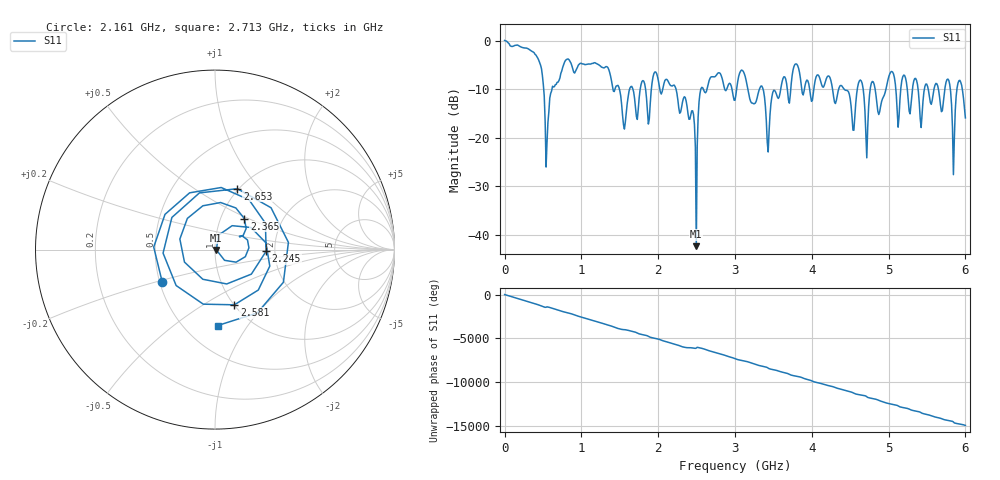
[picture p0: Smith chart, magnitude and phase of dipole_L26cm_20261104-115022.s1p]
! Dipole length 26 cm, measured 20261104-115022
# GHZ S RI R 50.000000000000
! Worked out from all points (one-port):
!   501 points, 1 MHz to 6 GHz, reference 50 ohm
!   lowest |S11| = -42.3 dB at 2.497 GHz (marker M1), VSWR 1.02, Z = 50.8 - j0.143 ohm
!   |S11| at or under -10 dB: 2.233 GHz to 2.556 GHz (322.7 MHz wide, 13.5 % of centre); 3.365 GHz to 3.596 GHz (230.4 MHz wide, 6.62 % of centre); 4.421 GHz to 4.593 GHz (171.8 MHz wide, 3.81 % of centre)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
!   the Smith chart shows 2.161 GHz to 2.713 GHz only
!   S11 on the Smith chart (normalised r, x): 2.161 GHz: 0.52, -0.21; 2.245 GHz: 1.80, -0.04; 2.365 GHz: 1.29, +0.47; 2.581 GHz: 1.00, -0.69; 2.653 GHz: 0.99, +0.77; 2.713 GHz: 0.71, -0.74
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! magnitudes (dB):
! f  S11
! 1 MHz  0.0
! 444.9 MHz  -4.0
! 552.9 MHz  -21.0
! 756.9 MHz  -5.5
! 1.501 GHz  -10.3
! 1.561 GHz  -18.2
! 1.645 GHz  -9.5
! 2.161 GHz  -9.2
! 2.245 GHz  -10.9
! 2.257 GHz  -12.2
! 2.365 GHz  -12.5
! 2.497 GHz  -42.3
! 2.581 GHz  -9.7
! 2.653 GHz  -8.8
! 2.713 GHz  -7.5
! 3.001 GHz  -12.3
! 3.348 GHz  -9.3
! 3.432 GHz  -22.9
! 3.756 GHz  -6.0
! 4.5 GHz  -12.0
! 4.644 GHz  -8.3
! 4.716 GHz  -24.1
! 5.04 GHz  -6.4
! 5.256 GHz  -12.2
! 5.772 GHz  -7.9
! 5.844 GHz  -27.6
! 5.928 GHz  -8.2
! 6 GHz  -15.9
